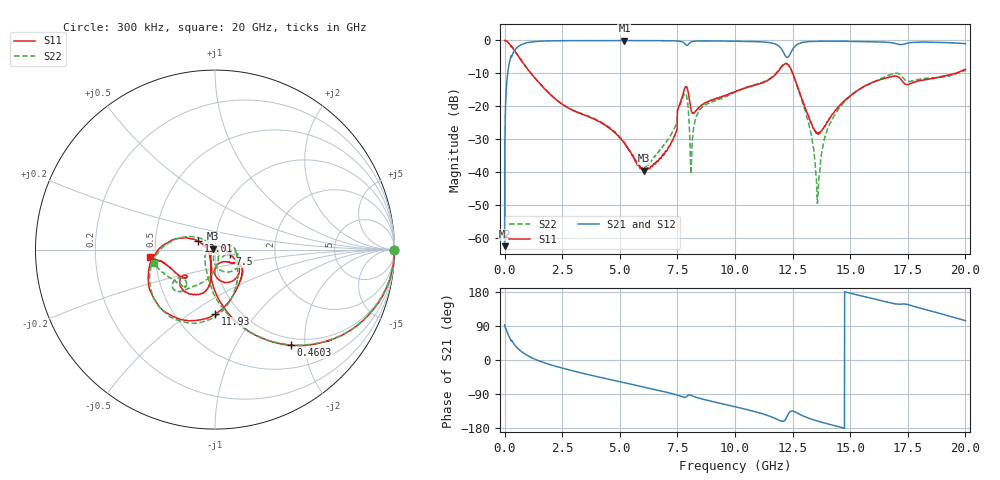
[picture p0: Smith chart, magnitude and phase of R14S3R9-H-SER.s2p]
!{R14S3R9}
!Johanson Technology Inc.
!www.johansontechnology.com
!Test Board Conditions:
!Substrate Type  RO4350B
!Substrate Thickness  20 mil
!Substrate Dk  3.66
!TL Type: GCPW
!TL Trace Width  36 mil
!TL Gap  12 mil
!Electrode orientation  Horizontal
!DUT TOPOLOGY	SERIES
!Mounting Pad LxW  26x36 mil
! Created Wed Nov 25 17:33:21 2020
! 2 Port Network Data from SP1.SP block
! freq  magS11  angS11  magS21  angS21  magS12  angS12  magS22  angS22
# khz S ma R 50
! decimated to every 10th point (10 MHz spacing) of the original 1 MHz Johanson file; values unchanged
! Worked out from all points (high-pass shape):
!   2001 points, 300 kHz to 20 GHz, reference 50 ohm
!   highest |S21| = -0.04 dB at 5.2 GHz (marker M1); lowest = -62.5 dB at 300 kHz (marker M2)
!   |S21| within 3 dB of the highest: 431.7 MHz to 12.06 GHz (11.63 GHz wide, 186 % of centre); 12.47 GHz to end of sweep
!   lowest |S11| = -39.6 dB at 6.04 GHz (marker M3), VSWR 1.02, Z = 49.1 + j0.469 ohm
!   |S11| at or under -10 dB: 1.144 GHz to 11.8 GHz (10.66 GHz wide, 165 % of centre); 12.51 GHz to 19.56 GHz (7.048 GHz wide, 44 % of centre)
!   |S22| runs from -49.5 to 0.0 dB; largest |S21 - S12| = 0.019
!   S11 on the Smith chart (normalised r, x): 300 kHz: open; 460.3 MHz: 0.87, -1.73; 7.5 GHz: 1.18, -0.06; 11.93 GHz: 0.77, -0.64; 13.01 GHz: 0.83, +0.08; 20 GHz: 0.47, -0.05
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300  0.998 -0.2  0.0007537 92.7  0.0007075 94.1  0.9968 -0.3
130300  0.9495 -19.6  0.3101 70.4  0.3108 70.3  0.9498 -19.4
460300  0.6807 -51.6  0.7275 38.2  0.7291 38.3  0.6796 -51.3
1300300  0.2723 -86.1  0.96 2.4  0.9592 2.4  0.2732 -88.6
3340300  0.07669 -108.2  0.9927 -34.3  0.9928 -34.3  0.07742 -137.8
5200300  0.02787 -136.3  0.9952 -60.0  0.9936 -60.0  0.02786 -159.5
6040300  0.01049 152.9  0.9934 -71.3  0.9929 -71.2  0.01171 -100.2
6670300  0.01493 89.7  0.992 -79.9  0.9924 -79.9  0.02021 -64.5
7500300  0.0859 -17.6  0.9801 -92.4  0.98 -92.4  0.08627 -1.6
7860300  0.1983 -55.4  0.8636 -98.2  0.8644 -98.1  0.1568 -46.0
8120300  0.08242 -78.4  0.9556 -94.3  0.9576 -94.2  0.0196 18.9
8510300  0.1016 -43.5  0.9813 -101.9  0.9816 -101.9  0.09114 12.7
1.00003e7  0.1672 -31.2  0.973 -123.4  0.9737 -123.4  0.1643 -40.2
1.19303e7  0.3601 -89.9  0.8056 -159.5  0.8078 -159.6  0.3681 -88.7
1.23703e7  0.3982 -158.8  0.6019 -137.8  0.6056 -138.2  0.401 -155.8
1.30103e7  0.1037 152.9  0.9413 -149.1  0.9412 -149.3  0.09241 140.1
1.33403e7  0.05248 167.4  0.9647 -156.6  0.9663 -156.5  0.03233 123.5
1.36003e7  0.03839 -158.7  0.9727 -161.4  0.9734 -161.4  0.00448 8.8
1.39103e7  0.05033 -122.7  0.975 -166.6  0.976 -166.7  0.03554 -59.2
1.44003e7  0.09019 -103.0  0.976 -174.6  0.976 -174.6  0.0817 -80.2
1.66703e7  0.2737 -114.7  0.9326 152.0  0.9259 151.8  0.2966 -128.5
2e7  0.3649 -173.1  0.8926 103.8  0.892 104.1  0.3504 -167.3
